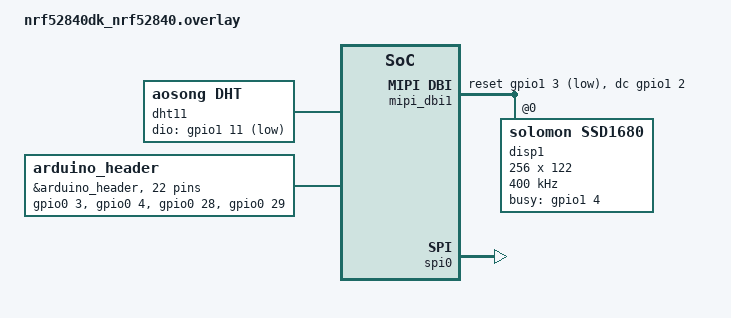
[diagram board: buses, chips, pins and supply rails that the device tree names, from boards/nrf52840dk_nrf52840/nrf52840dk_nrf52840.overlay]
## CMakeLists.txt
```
cmake_minimum_required(VERSION 3.20.0)
find_package(Zephyr REQUIRED HINTS $ENV{ZEPHYR_BASE})

project(tempDemo)

target_sources(app PRIVATE src/main.c src/text.c src/my_image.c)
```

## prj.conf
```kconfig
CONFIG_SENSOR=y
CONFIG_DHT=y
CONFIG_GPIO=y
CONFIG_DHT_LOCK_IRQS=y
CONFIG_LOG=y
CONFIG_DISPLAY=y
CONFIG_SSD16XX=y


CONFIG_SERIAL=y
CONFIG_UART_CONSOLE=y
CONFIG_CONSOLE=y
CONFIG_GPIO_NRFX=y

CONFIG_SPI=y
CONFIG_SPI_NRFX=y


# Enable logging for DHT sensor (optional)
```

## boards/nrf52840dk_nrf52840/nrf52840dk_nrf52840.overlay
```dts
/ {
 dht11 {
 compatible = "aosong,dht";
 dio-gpios = <&gpio1 11 (GPIO_PULL_UP | GPIO_ACTIVE_LOW)>;
 status="okay";
 };

};


/{
   chosen {
       zephyr,display = &disp1;
   };


   mipi_dbi1 {
       compatible = "zephyr,mipi-dbi-spi";
       dc-gpios = <&gpio1 2 GPIO_ACTIVE_HIGH>;
       reset-gpios = <&gpio1 3 GPIO_ACTIVE_LOW>;
       spi-dev = <&spi0>;
       write-only;
       #address-cells = <1>;
       #size-cells = <0>;
       status = "okay";


       disp1: ssd1680@0 {
           compatible = "solomon,ssd1680";
           reg = <0>;
           busy-gpios = <&gpio1 4 (GPIO_PULL_DOWN | GPIO_ACTIVE_HIGH)>;
           width = <256>;
           height = <122>;
           rotation = <0>;
           mipi-max-frequency = <400000>;  
          


           full {
               // lut = [ 22 55 AA 55 AA 55 AA 11 00 00 00 00 00 00 00 00 1E 1E 1E 1E 1E 1E 1E 1E 01 00 00 00 00 00 ];
           };
         
           partial{
           //     lut = [ 18 00 00 00 00 00 00 00 00 00 00 00 00 00 00 00 0f 01 00 00 00 00 00 00 00 00 00 00 00 00 ];
            };


           status = "okay";
       };
   };
};




&spi0 {
   status = "okay";
   cs-gpios = <&gpio1 1 GPIO_ACTIVE_LOW>;
};


&gpio1 {
   status = "okay";
};


&arduino_i2c {
   status = "disabled";
};


&arduino_header {
   gpio-map = <0 0 &gpio0 3 0>,
              <1 0 &gpio0 4 0>,
              <2 0 &gpio0 28 0>,
              <3 0 &gpio0 29 0>,
              <4 0 &gpio0 30 0>,
              <5 0 &gpio0 31 0>,
              <6 0 &gpio1 1 0>,
              <7 0 &gpio1 2 0>,
              <8 0 &gpio1 3 0>,
              <9 0 &gpio1 4 0>,
              <10 0 &gpio1 5 0>,
              <11 0 &gpio1 6 0>,
              <12 0 &gpio1 7 0>,
              <13 0 &gpio1 8 0>,
              <14 0 &gpio1 10 0>,
              <15 0 &gpio1 11 0>,
              <16 0 &gpio1 12 0>,
              <17 0 &gpio1 13 0>,
              <18 0 &gpio1 14 0>,
              <19 0 &gpio1 15 0>,
              <20 0 &gpio0 26 0>,
              <21 0 &gpio0 27 0>;
};
```

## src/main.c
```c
#include <zephyr/kernel.h>
#include <zephyr/device.h>
#include <zephyr/drivers/sensor.h>
#include <zephyr/sys/printk.h>
#include "text.h"
#include <stdlib.h>
#include <string.h>
#include <zephyr/drivers/gpio.h>
#include <zephyr/drivers/display.h>
#include <zephyr/devicetree.h>
#include <stdio.h>
#include <zephyr/logging/log.h>
#include <math.h>
#include "my_image.h"

#define DHT_NODE DT_PATH(dht11)

#define DISPLAY_WIDTH      256
#define DISPLAY_HEIGHT     120
#define DISPLAY_PITCH      DISPLAY_WIDTH
#define DISPLAY_BYTE_PITCH ((DISPLAY_WIDTH + 7) / 8)
#define DISPLAY_BUF_SIZE   (DISPLAY_BYTE_PITCH * DISPLAY_HEIGHT)

extern const Img raindrop;
extern const Img flame;

LOG_MODULE_REGISTER(main);
#define PIXEL_ON 0
#define PIXEL_OFF 1

static uint8_t raw_buf[DISPLAY_WIDTH * DISPLAY_HEIGHT];  // 1 byte per pixel
static uint8_t buf[DISPLAY_BUF_SIZE];



extern void set_pixel(int x, int y) {
   if (x < 0 || x >= DISPLAY_WIDTH || y < 0 || y >= DISPLAY_HEIGHT) {
       return;
   }
   raw_buf[y * DISPLAY_WIDTH + x] = PIXEL_ON;
}

static void color_white(int x, int y){
      if (x < 0 || x >= DISPLAY_WIDTH || y < 0 || y >= DISPLAY_HEIGHT) {
       return;
   }
   raw_buf[y * DISPLAY_WIDTH + x] = PIXEL_OFF;
   
}
static void pack_buffer(void) {
   memset(buf, 0xFF, sizeof(buf));  // Set all to white
   for (int y = 0; y < DISPLAY_HEIGHT; y++) {
       for (int x = 0; x < DISPLAY_WIDTH; x++) {
           if (raw_buf[y * DISPLAY_WIDTH + x] == PIXEL_ON) {
               int byte_index = x + (y / 8) * DISPLAY_WIDTH;
               int bit_pos = 7 - (y % 8);
               buf[byte_index] &= ~(1 << bit_pos);
               // LOG_INF("PACK: (x=%d y=%d) -> Byte %d, bit %d", x, y, byte_index, bit_pos);
           }
       }
   }
}


//image drawn method, used for raindrop and temperature icons
void draw_my_image(int x_offset, int y_offset, const Img  *image) {
   int width = image->width;
   int height = image->height;
   int bytes_per_row = image->pitch;  // (100 + 7) / 8


   for (int y = 0; y < height; y++) {
       for (int byte_index = 0; byte_index < bytes_per_row; byte_index++) {
           uint8_t byte = image->img_data[y * bytes_per_row + byte_index];
           for (int bit = 0; bit < 8; bit++) {
               int x = byte_index * 8 + bit;
               if (x >= width) break;  


               if (byte & (0x80 >> bit)) {
                   set_pixel(x + x_offset, y + y_offset);
               }
           }
       }
   }
}




int main(void)
{
    const struct device *display_dev = DEVICE_DT_GET(DT_CHOSEN(zephyr_display));
   const struct device *reset_dev   = device_get_binding("GPIO_1");
   const struct device *spi_dev     = DEVICE_DT_GET(DT_NODELABEL(spi0));
   const struct device *gpio_dev    = DEVICE_DT_GET(DT_NODELABEL(gpio1));


   if (reset_dev) {
       gpio_pin_configure(reset_dev, 3, GPIO_OUTPUT);
       gpio_pin_set(reset_dev, 3, 0);
       k_sleep(K_MSEC(10));
       gpio_pin_set(reset_dev, 3, 1);
       k_sleep(K_MSEC(10));
   }    


   LOG_INF("SPI ready? %d", device_is_ready(spi_dev));
   LOG_INF("GPIO1 ready? %d", device_is_ready(gpio_dev));
   LOG_INF("Chosen display node: %s", DT_NODE_FULL_NAME(DT_CHOSEN(zephyr_display)));


   LOG_INF("Delaying for display power up");
   k_msleep(100);


   if (!device_is_ready(display_dev)) {
       LOG_ERR("Display device not ready");
       return -1;
   }


   LOG_INF("DEVICE IS READY!!!");
   LOG_INF("Display device name: %s", display_dev->name);


   display_blanking_off(display_dev);
   memset(raw_buf, 1, sizeof(raw_buf));  // White pixels


   struct display_buffer_descriptor desc = {
       .width = DISPLAY_WIDTH,
       .height = DISPLAY_HEIGHT,
       .pitch = DISPLAY_PITCH,
       .buf_size = DISPLAY_BUF_SIZE,
   };


    const struct device *dht_dev = DEVICE_DT_GET(DHT_NODE);

    if (!device_is_ready(dht_dev)) {
        printk("DHT11 not ready\n");
        return 1;
    }

    printk("DHT11 sensor ready\n");

int last_temp = INT32_MIN;  
int last_humid= INT32_MIN;
    int count= 0;
while (1) {
    struct sensor_value temp;
    struct sensor_value humidity;
    if (sensor_sample_fetch(dht_dev) == 0 &&
        sensor_channel_get(dht_dev, SENSOR_CHAN_AMBIENT_TEMP, &temp) == 0 &&
        sensor_channel_get(dht_dev, SENSOR_CHAN_HUMIDITY, &humidity)==0){
            
         float temp_c = temp.val1 + temp.val2 / 1000000.0f;
        float rh = humidity.val1 + humidity.val2 / 1000000.0f;
        float temp_f = temp_c * 9.0f / 5.0f + 32.0f;

        // Calculate Heat Index in Fahrenheit using the exact formula
        float HI_f = -42.379f
                   + 2.04901523f * temp_f
                   + 10.14333127f * rh
                   - 0.22475541f * temp_f * rh
                   - 0.00683783f * temp_f * temp_f
                   - 0.05481717f * rh * rh
                   + 0.00122874f * temp_f * temp_f * rh
                   + 0.00085282f * temp_f * rh * rh
                   - 0.00000199f * temp_f * temp_f * rh * rh;

        // Convert result back to Celsius
        int heat_index_celsius = (int)((HI_f - 32.0f) * 5.0f / 9.0f);

        

              if (temp.val1 != last_temp || humidity.val1 != last_humid) {
            last_temp = temp.val1;
            last_humid = humidity.val1;

            memset(raw_buf, 0xFF, sizeof(raw_buf));  // Clear to white before drawing

            char temp_str[50];
            char humidity_str[50];
            char heat_index_str[50];
            snprintk(temp_str, sizeof(temp_str), "Temperature %d.%02d,C", temp.val1, temp.val2 / 10000);
            snprintk(humidity_str, sizeof(humidity_str), "Humidity %d.%02d%%", humidity.val1, humidity.val2 / 10000);
            if(temp.val1>=26){
            snprintk(heat_index_str, sizeof(heat_index_str), "Heat Index %d.%02d,C", heat_index_celsius);
    
            }
            else{
            snprintk(heat_index_str, sizeof(heat_index_str), "Heat Index: %d.%02d,C", temp.val1);
            }
            
            printk("Temp: %d.%06d C, Humidity: %d.%06d%%\n", temp.val1, temp.val2, humidity.val1, humidity.val2);
            printk("Heat Index: %d\n", heat_index_celsius);
            if (count%2==0){
            draw_string_8x10(temp_str, 9, 56);
            draw_string_8x10(humidity_str, 9, 20);
            draw_string_8x10(heat_index_str, 9, 91);
             if(humidity.val1>=50){
                draw_my_image(146, 13, &raindrop);
             }
            
             if (heat_index_celsius>=26){
                draw_my_image(192, 56, &flame);
             }
            }
            else{
                draw_string_8x10(temp_str, 10, 57);
                draw_string_8x10(humidity_str, 10, 21);
                draw_string_8x10(heat_index_str, 10, 92);
                     if(humidity.val1>=50){
                draw_my_image(147, 14, &raindrop);
             }
             if (heat_index_celsius>=26){
                draw_my_image(193, 57, &flame);
             }
            }
            pack_buffer();
            display_write(display_dev, 0, 0, &desc, buf);
            memset(raw_buf, 0xFF, sizeof(raw_buf)); 
            count++;

        } else {
            printk("Temp and humidity unchanged (%d°C and %d%%), skipping refresh\n", temp.val1, humidity.val1);
        }
    }

     else {
        printk("Failed to read from DHT11\n");
    }

    k_sleep(K_SECONDS(1));
}
}
```

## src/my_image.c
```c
#include "my_image.h"

//pitch calculation: width/8 rounded up
//array size: height*pitch

const uint8_t raindrop_data[77] = {
// 'raindrop(1)', 30x30px
// 'raindrop(1)(1)', 22x22px
0x00, 0x00, 0x00, 0x00, 0x30, 0x00, 0x00, 0x78, 0x00, 0x00, 0x78, 0x00, 0x00, 0xfc, 0x00, 0x00, 
0xfc, 0x00, 0x01, 0xfe, 0x00, 0x03, 0xff, 0x00, 0x03, 0xff, 0x00, 0x07, 0xff, 0x80, 0x07, 0xff, 
0x80, 0x07, 0xff, 0x80, 0x0f, 0xff, 0xc0, 0x0f, 0xff, 0xc0, 0x0f, 0xff, 0xc0, 0x0f, 0xff, 0xc0, 
0x0f, 0xff, 0xc0, 0x0f, 0xff, 0xc0, 0x07, 0xff, 0x80, 0x07, 0xff, 0x80, 0x03, 0xff, 0x00, 0x00, 
0xfc, 0x00};


 const Img raindrop = {
    .width = 22,
    .height = 22,
    .pitch = 3,  // width in bytes (250 / 8 = 31.25 → round up)
    .img_data = raindrop_data
};


const uint8_t flame_data[333]={
// 'flame(2)', 55x46px
0x00, 0x00, 0x00, 0x00, 0x00, 0x00, 0x00, 0x00, 0x00, 0x00, 0x00, 0x00, 0x00, 0x00, 0x00, 0x00, 
0x00, 0x00, 0x00, 0x00, 0x00, 0x00, 0x00, 0x00, 0x10, 0x00, 0x00, 0x00, 0x00, 0x00, 0x00, 0x30, 
0x00, 0x00, 0x00, 0x00, 0x00, 0x00, 0x70, 0x00, 0x00, 0x00, 0x00, 0x00, 0x00, 0xf0, 0x00, 0x00, 
0x00, 0x00, 0x00, 0x01, 0xf0, 0x00, 0x00, 0x00, 0x00, 0x00, 0x01, 0xf0, 0x00, 0x00, 0x00, 0x00, 
0x00, 0x01, 0xf0, 0x00, 0x00, 0x00, 0x00, 0x00, 0x03, 0xf8, 0x00, 0x00, 0x00, 0x00, 0x00, 0x03, 
0xf8, 0x00, 0x00, 0x00, 0x00, 0x00, 0x03, 0xfc, 0x00, 0x00, 0x00, 0x00, 0x00, 0x03, 0xfe, 0x00, 
0x00, 0x00, 0x00, 0x00, 0x03, 0xff, 0x00, 0x00, 0x00, 0x00, 0x00, 0x03, 0xff, 0x80, 0x00, 0x00, 
0x00, 0x00, 0x03, 0xff, 0xc0, 0x00, 0x00, 0x00, 0x00, 0x03, 0xff, 0xc0, 0x00, 0x00, 0x00, 0x00, 
0x87, 0xff, 0xe0, 0x00, 0x00, 0x00, 0x00, 0xc7, 0xff, 0xe0, 0x00, 0x00, 0x00, 0x00, 0xe7, 0xef, 
0xf0, 0x00, 0x00, 0x00, 0x01, 0xff, 0xcf, 0xf1, 0x00, 0x00, 0x00, 0x01, 0xff, 0x8f, 0xf3, 0x00, 
0x00, 0x00, 0x01, 0xff, 0x8f, 0xf3, 0x80, 0x00, 0x00, 0x03, 0xff, 0x0f, 0xf7, 0x80, 0x00, 0x00, 
0x03, 0xff, 0x07, 0xff, 0x80, 0x00, 0x00, 0x03, 0xff, 0x03, 0xff, 0x80, 0x00, 0x00, 0x03, 0xff, 
0x01, 0xff, 0x80, 0x00, 0x00, 0x07, 0xff, 0x00, 0xff, 0xc0, 0x00, 0x00, 0x07, 0xf3, 0x00, 0xff, 
0xc0, 0x00, 0x00, 0x07, 0xf0, 0x00, 0xff, 0xc0, 0x00, 0x00, 0x07, 0xf0, 0x00, 0x5f, 0xc0, 0x00, 
0x00, 0x03, 0xf0, 0x00, 0x1f, 0x80, 0x00, 0x00, 0x03, 0xe0, 0x00, 0x0f, 0x80, 0x00, 0x00, 0x03, 
0xe0, 0x00, 0x0f, 0x80, 0x00, 0x00, 0x03, 0xe0, 0x00, 0x0f, 0x80, 0x00, 0x00, 0x01, 0xe0, 0x00, 
0x0f, 0x00, 0x00, 0x00, 0x01, 0xe0, 0x00, 0x0f, 0x00, 0x00, 0x00, 0x00, 0xe0, 0x00, 0x0e, 0x00, 
0x00, 0x00, 0x00, 0x70, 0x00, 0x1c, 0x00, 0x00, 0x00, 0x00, 0x30, 0x00, 0x18, 0x00, 0x00, 0x00, 
0x00, 0x08, 0x00, 0x20, 0x00, 0x00, 0x00, 0x00, 0x00, 0x00, 0x00, 0x00, 0x00, 0x00, 0x00, 0x00, 
0x00, 0x00, 0x00, 0x00, 0x00, 0x00, 0x00, 0x00, 0x00, 0x00, 0x00, 0x00, 0x00, 0x00, 0x00, 0x00, 
0x00, 0x00
};

const Img flame = {
    .width= 55,
    .height =46,
    .pitch = 7,
    .img_data = flame_data
};
```

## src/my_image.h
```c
#ifndef MY_IMAGE_H
#define MY_IMAGE_H

#include <stdint.h>

#ifdef __cplusplus
extern "C" {
#endif

// Define the Img struct type here
typedef struct {
    int width;
    int height;
    int pitch;
    const uint8_t *img_data;
} Img;

// Declare the image data and image instance
// extern const uint8_t mario_image_data[];
// extern const Img mario;

#ifdef __cplusplus
}
#endif

#endif // MY_IMAGE_H
```

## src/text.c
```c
#include "text.h"
#include <stdint.h>

extern void set_pixel(int x, int y);

// Existing 5x7 font data: 5 columns, 7 rows (1 byte per column)
static const uint8_t font_5x7[][5] = {
    // SPACE (ASCII 32)
    {0x00, 0x00, 0x00, 0x00, 0x00}, // ' '
    // !
    {0x00, 0x00, 0x5F, 0x00, 0x00}, // '!'

    // A-Z (ASCII 65–90)
    {0x7C, 0x12, 0x11, 0x12, 0x7C}, // A
    {0x7F, 0x49, 0x49, 0x49, 0x36}, // B
    {0x3E, 0x41, 0x41, 0x41, 0x22}, // C
    {0x7F, 0x41, 0x41, 0x22, 0x1C}, // D
    {0x7F, 0x49, 0x49, 0x49, 0x41}, // E
    {0x7F, 0x09, 0x09, 0x09, 0x01}, // F
    {0x3E, 0x41, 0x49, 0x49, 0x7A}, // G
    {0x7F, 0x08, 0x08, 0x08, 0x7F}, // H
    {0x00, 0x41, 0x7F, 0x41, 0x00}, // I
    {0x20, 0x40, 0x41, 0x3F, 0x01}, // J
    {0x7F, 0x08, 0x14, 0x22, 0x41}, // K
    {0x7F, 0x40, 0x40, 0x40, 0x40}, // L
    {0x7F, 0x02, 0x0C, 0x02, 0x7F}, // M
    {0x7F, 0x04, 0x08, 0x10, 0x7F}, // N
    {0x3E, 0x41, 0x41, 0x41, 0x3E}, // O
    {0x7F, 0x09, 0x09, 0x09, 0x06}, // P
    {0x3E, 0x41, 0x51, 0x21, 0x5E}, // Q
    {0x7F, 0x09, 0x19, 0x29, 0x46}, // R
    {0x26, 0x49, 0x49, 0x49, 0x32}, // S
    {0x01, 0x01, 0x7F, 0x01, 0x01}, // T
    {0x3F, 0x40, 0x40, 0x40, 0x3F}, // U
    {0x1F, 0x20, 0x40, 0x20, 0x1F}, // V
    {0x7F, 0x20, 0x18, 0x20, 0x7F}, // W
    {0x63, 0x14, 0x08, 0x14, 0x63}, // X
    {0x07, 0x08, 0x70, 0x08, 0x07}, // Y
    {0x61, 0x51, 0x49, 0x45, 0x43}, // Z

    // a-z (ASCII 97–122)
    {0x20, 0x54, 0x54, 0x54, 0x78}, // a
    {0x7F, 0x48, 0x44, 0x44, 0x38}, // b
    {0x38, 0x44, 0x44, 0x44, 0x20}, // c
    {0x38, 0x44, 0x44, 0x48, 0x7F}, // d
    {0x38, 0x54, 0x54, 0x54, 0x18}, // e
    {0x08, 0x7E, 0x09, 0x01, 0x02}, // f
    {0x08, 0x14, 0x54, 0x54, 0x3C}, // g
    {0x7F, 0x08, 0x04, 0x04, 0x78}, // h
    {0x00, 0x44, 0x7D, 0x40, 0x00}, // i
    {0x20, 0x40, 0x44, 0x3D, 0x00}, // j
    {0x7F, 0x10, 0x28, 0x44, 0x00}, // k
    {0x00, 0x41, 0x7F, 0x40, 0x00}, // l
    {0x7C, 0x04, 0x18, 0x04, 0x78}, // m
    {0x7C, 0x08, 0x04, 0x04, 0x78}, // n
    {0x38, 0x44, 0x44, 0x44, 0x38}, // o
    {0x7C, 0x14, 0x14, 0x14, 0x08}, // p
    {0x08, 0x14, 0x14, 0x18, 0x7C}, // q
    {0x7C, 0x08, 0x04, 0x04, 0x08}, // r
    {0x48, 0x54, 0x54, 0x54, 0x20}, // s
    {0x04, 0x3F, 0x44, 0x40, 0x20}, // t
    {0x3C, 0x40, 0x40, 0x20, 0x7C}, // u
    {0x1C, 0x20, 0x40, 0x20, 0x1C}, // v
    {0x3C, 0x40, 0x30, 0x40, 0x3C}, // w
    {0x44, 0x28, 0x10, 0x28, 0x44}, // x
    {0x0C, 0x50, 0x50, 0x50, 0x3C}, // y
    {0x44, 0x64, 0x54, 0x4C, 0x44}, // z

    {0x00, 0x60, 0x60, 0x00, 0x00}, // '.'

// ° (degree symbol, ASCII 176 or use custom index if not using full ASCII)

{0x00, 0x06, 0x09, 0x09, 0x06}, // °
// 0–9 (flipped vertically for draw_char_5x7)
{0x3E, 0x51, 0x49, 0x45, 0x3E}, // 0
{0x00, 0x41, 0x7F, 0x01, 0x00}, // 1
{0x43, 0x65, 0x59, 0x49, 0x31}, // 2
{0x42, 0x41, 0x51, 0x69, 0x46}, // 3
{0x18, 0x14, 0x12, 0x7F, 0x10}, // 4
{0x4F, 0x49, 0x49, 0x49, 0x71}, // 5
{0x3E, 0x49, 0x49, 0x49, 0x32}, // 6
{0x01, 0x01, 0x71, 0x0D, 0x03}, // 7
{0x36, 0x49, 0x49, 0x49, 0x36}, // 8
{0x26, 0x49, 0x49, 0x49, 0x3E}, // 9




};


// Draw char from 5x7 font
void draw_char_5x7(char c, int x, int y) {
    uint8_t index;
    if (c == ' ') index = 0;
    else if (c == '!') index = 1;
    else if (c >= 'A' && c <= 'Z') index = 2 + (c - 'A');
    else if (c >= 'a' && c <= 'z') index = 28 + (c - 'a');
    else if(c=='.') index =54;
    else if(c==',') index=55;
    else if (c>='0'&& c<='9') index = 56+ (c-'0');
    else return;

    for (int col = 0; col < 5; col++) {
        uint8_t line = font_5x7[index][col];
        for (int row = 0; row < 7; row++) {
            if (line & (1 << row)) {
                set_pixel(x + col, y + row);
            }
        }
    }
}

// Draw string using 5x7 font
void draw_string_5x7(const char *text, int x, int y) {
    while (*text) {
        draw_char_5x7(*text, x, y);
        x += 6; // 5 columns + 1 spacing
        text++;
    }
}
// 7 columns per char, 9 rows (bits 0-8), bit 0 = top pixel, bit 8 = bottom pixel
static const uint8_t font_7x9[][8] = {
    // SPACE (ASCII 32)
    {0x00,0x00,0x00,0x00,0x00,0x00,0x00,0x00}, // ' '
    // !
    {0x18,0x3C,0x3C,0x18,0x18,0x00,0x18,0x00}, // '!'
    {0x3C,0x42,0x46,0x4A,0x52,0x62,0x42,0x3C}, // 0
    {0x10,0x30,0x10,0x10,0x10,0x10,0x10,0x38}, // 1
    {0x3C,0x42,0x02,0x04,0x08,0x10,0x20,0x7E}, // 2
    {0x3C,0x42,0x02,0x1C,0x02,0x02,0x42,0x3C}, // 3
    {0x08,0x18,0x28,0x48,0x88,0x7E,0x08,0x08}, // 4
    {0x7E,0x40,0x40,0x7C,0x02,0x02,0x42,0x3C}, // 5
    {0x3C,0x42,0x40,0x7C,0x42,0x42,0x42,0x3C}, // 6
    {0x7E,0x02,0x04,0x08,0x10,0x10,0x10,0x10}, // 7
    {0x3C,0x42,0x42,0x3C,0x42,0x42,0x42,0x3C}, // 8
    {0x3C,0x42,0x42,0x42,0x3E,0x02,0x42,0x3C}, // 9

    // A-Z (ASCII 65–90)
    {0x18,0x24,0x42,0x42,0x7E,0x42,0x42,0x42}, // A
    {0x7C,0x42,0x42,0x7C,0x42,0x42,0x42,0x7C}, // B
    {0x3C,0x42,0x40,0x40,0x40,0x40,0x42,0x3C}, // C
    {0x78,0x44,0x42,0x42,0x42,0x42,0x44,0x78}, // D
    {0x7E,0x40,0x40,0x7C,0x40,0x40,0x40,0x7E}, // E
    {0x7E,0x40,0x40,0x7C,0x40,0x40,0x40,0x40}, // F
    {0x3C,0x42,0x40,0x5E,0x42,0x42,0x42,0x3C}, // G
    {0x42,0x42,0x42,0x7E,0x42,0x42,0x42,0x42}, // H
    {0x3C,0x18,0x18,0x18,0x18,0x18,0x18,0x3C}, // I
    {0x1E,0x0C,0x0C,0x0C,0x0C,0x4C,0x4C,0x38}, // J
    {0x42,0x44,0x48,0x70,0x48,0x44,0x42,0x42}, // K
    {0x40,0x40,0x40,0x40,0x40,0x40,0x40,0x7E}, // L
    {0x42,0x66,0x5A,0x5A,0x42,0x42,0x42,0x42}, // M
    {0x42,0x62,0x52,0x4A,0x46,0x42,0x42,0x42}, // N
    {0x3C,0x42,0x42,0x42,0x42,0x42,0x42,0x3C}, // O
    {0x7C,0x42,0x42,0x7C,0x40,0x40,0x40,0x40}, // P
    {0x3C,0x42,0x42,0x42,0x4A,0x44,0x3A,0x00}, // Q
    {0x7C,0x42,0x42,0x7C,0x48,0x44,0x42,0x42}, // R
    {0x3C,0x42,0x40,0x3C,0x02,0x42,0x42,0x3C}, // S
    {0x7E,0x18,0x18,0x18,0x18,0x18,0x18,0x18}, // T
    {0x42,0x42,0x42,0x42,0x42,0x42,0x42,0x3C}, // U
    {0x42,0x42,0x42,0x42,0x42,0x24,0x18,0x18}, // V
    {0x42,0x42,0x42,0x5A,0x5A,0x66,0x42,0x42}, // W
    {0x42,0x24,0x18,0x18,0x18,0x24,0x42,0x42}, // X
    {0x42,0x42,0x24,0x18,0x18,0x18,0x18,0x18}, // Y
    {0x7E,0x04,0x08,0x10,0x20,0x40,0x40,0x7E}, // Z

    // a-z (ASCII 97–122)
    {0x00,0x00,0x38,0x04,0x3C,0x44,0x3A,0x00}, // a
    {0x40,0x40,0x5C,0x62,0x42,0x62,0x5C,0x00}, // b
    {0x00,0x00,0x3C,0x40,0x40,0x40,0x3C,0x00}, // c
    {0x02,0x02,0x3A,0x46,0x42,0x46,0x3A,0x00}, // d
    {0x00,0x00,0x3C,0x44,0x7C,0x40,0x3C,0x00}, // e
    {0x1C,0x20,0x7C,0x20,0x20,0x20,0x20,0x00}, // f
    {0x00,0x00,0x3A,0x46,0x42,0x46,0x3A,0x02}, // g
    {0x40,0x40,0x5C,0x62,0x42,0x42,0x42,0x00}, // h
    {0x18,0x00,0x38,0x18,0x18,0x18,0x3C,0x00}, // i
    {0x06,0x00,0x0E,0x06,0x06,0x46,0x46,0x3C}, // j
    {0x40,0x40,0x44,0x48,0x70,0x48,0x44,0x00}, // k
    {0x38,0x18,0x18,0x18,0x18,0x18,0x3C,0x00}, // l
    {0x00,0x00,0x6C,0x52,0x52,0x52,0x52,0x00}, // m
    {0x00,0x00,0x5C,0x62,0x42,0x42,0x42,0x00}, // n
    {0x00,0x00,0x3C,0x42,0x42,0x42,0x3C,0x00}, // o
    {0x00,0x00,0x5C,0x62,0x42,0x62,0x5C,0x40}, // p
    {0x00,0x00,0x3A,0x46,0x42,0x46,0x3A,0x02}, // q
    {0x00,0x00,0x5C,0x62,0x40,0x40,0x40,0x00}, // r
    {0x00,0x00,0x3C,0x40,0x38,0x04,0x78,0x00}, // s
    {0x20,0x20,0x7C,0x20,0x20,0x20,0x1C,0x00}, // t
    {0x00,0x00,0x42,0x42,0x42,0x46,0x3A,0x00}, // u
    {0x00,0x00,0x42,0x42,0x24,0x18,0x18,0x00}, // v
    {0x00,0x00,0x42,0x52,0x52,0x52,0x24,0x00}, // w
    {0x00,0x00,0x42,0x24,0x18,0x24,0x42,0x00}, // x
    {0x00,0x00,0x42,0x42,0x46,0x3A,0x02,0x3C}, // y
    {0x00,0x00,0x7E,0x08,0x10,0x20,0x7E,0x00}, // z
    {0x00,0x00,0x00,0x00,0x00,0x00,0x18,0x18}, // '.'

    { 0x06, 0x09, 0x09, 0x06, 0x00, 0x00, 0x00}  //degree symbol
};

void draw_char_7x9(char c, int x, int y) {
    uint8_t index;

    if (c == ' ') {
        index = 0;
    } else if (c == '!') {
        index = 1;
    } else if (c >= '0' && c <= '9') {
        index = 2 + (c - '0');  // digits 0-9 at indices 2 to 11
    } else if (c >= 'A' && c <= 'Z') {
        index = 12 + (c - 'A');  // letters A-Z start at index 12
    } else if (c >= 'a' && c <= 'z') {
        index = 38 + (c - 'a');  // letters a-z start at index 38 (12 + 26)

    } 
    else if (c == '.') {
    index = 64;
    }
    else if (c==','){
        index = 65;
    }    
    else {
        return;  // Unsupported character
    }

    for (int row = 0; row < 8; row++) {
        uint8_t line = font_7x9[index][row];
        for (int col = 0; col < 8; col++) {
            if (line & (1 << (7 - col))) {
                set_pixel(x + col, y + row);
            }
        }
    }
}

void draw_string_7x9(const char *text, int x, int y) {
    while (*text) {
        draw_char_7x9(*text, x, y);
        x += 9;  // 8 pixels wide + 1 pixel space
        text++;
    }
}

// 8x12 font, uppercase A-Z
// Each character: 8 columns, 12 rows (bit 0=top pixel, bit 11=bottom pixel)
// Each uint16_t = one column's vertical pixels
static const uint8_t font_8x10[][10] = {
    // SPACE
    {0x00,0x00,0x00,0x00,0x00,0x00,0x00,0x00,0x00,0x00}, // ' '

    // DIGITS 0–9
    {0x3C,0x66,0xC3,0xC3,0xC3,0xC3,0xC3,0xC3,0x66,0x3C}, // '0'
    {0x18,0x38,0x58,0x18,0x18,0x18,0x18,0x18,0x18,0x7E}, // '1'
    {0x3C,0x66,0x03,0x03,0x06,0x0C,0x18,0x30,0x60,0x7F}, // '2'
    {0x3C,0x66,0x03,0x03,0x1E,0x03,0x03,0x03,0x66,0x3C}, // '3'
    {0x06,0x0E,0x1E,0x36,0x66,0xC6,0xFF,0x06,0x06,0x06}, // '4'
    {0x7E,0x60,0x60,0x7C,0x06,0x03,0x03,0x03,0x66,0x3C}, // '5'
    {0x1C,0x30,0x60,0x7C,0x66,0xC3,0xC3,0xC3,0x66,0x3C}, // '6'
    {0xFF,0x03,0x06,0x0C,0x18,0x30,0x30,0x30,0x30,0x30}, // '7'
    {0x3C,0x66,0xC3,0x66,0x3C,0x66,0xC3,0xC3,0x66,0x3C}, // '8'
    {0x3C,0x66,0xC3,0xC3,0x67,0x3F,0x03,0x06,0x0C,0x38}, // '9'

    // UPPERCASE A–Z
    {0x18,0x3C,0x66,0x66,0x66,0x7E,0x66,0x66,0x66,0x66}, // A
    {0x7C,0x66,0x66,0x66,0x7C,0x66,0x66,0x66,0x66,0x7C}, // B
    {0x3C,0x66,0xC0,0xC0,0xC0,0xC0,0xC0,0xC0,0x66,0x3C}, // C
    {0x78,0x6C,0x66,0x66,0x66,0x66,0x66,0x66,0x6C,0x78}, // D
    {0x7E,0x60,0x60,0x60,0x7C,0x60,0x60,0x60,0x60,0x7E}, // E
    {0x7E,0x60,0x60,0x60,0x7C,0x60,0x60,0x60,0x60,0x60}, // F
    {0x3C,0x66,0xC0,0xC0,0xCE,0xC6,0xC6,0xC6,0x66,0x3C}, // G
    {0x66,0x66,0x66,0x66,0x7E,0x66,0x66,0x66,0x66,0x66}, // H
    {0x3C,0x18,0x18,0x18,0x18,0x18,0x18,0x18,0x18,0x3C}, // I
    {0x1E,0x0C,0x0C,0x0C,0x0C,0x0C,0x0C,0xCC,0xCC,0x78}, // J
    {0x66,0x6C,0x78,0x70,0x60,0x70,0x78,0x6C,0x66,0x66}, // K
    {0x60,0x60,0x60,0x60,0x60,0x60,0x60,0x60,0x60,0x7E}, // L
    {0xC3,0xE7,0xFF,0xFF,0xDB,0xC3,0xC3,0xC3,0xC3,0xC3}, // M
    {0xC3,0xC3,0xE3,0xF3,0xFB,0xDF,0xCF,0xC7,0xC3,0xC3}, // N
    {0x3C,0x66,0xC3,0xC3,0xC3,0xC3,0xC3,0xC3,0x66,0x3C}, // O
    {0x7C,0x66,0x66,0x66,0x7C,0x60,0x60,0x60,0x60,0x60}, // P
    {0x3C,0x66,0xC3,0xC3,0xC3,0xC3,0xCB,0xCF,0x66,0x3F}, // Q
    {0x7C,0x66,0x66,0x66,0x7C,0x70,0x78,0x6C,0x66,0x66}, // R
    {0x3E,0x60,0x60,0x60,0x3C,0x06,0x06,0x06,0x06,0x7C}, // S
    {0x7E,0x5A,0x18,0x18,0x18,0x18,0x18,0x18,0x18,0x18}, // T
    {0x66,0x66,0x66,0x66,0x66,0x66,0x66,0x66,0x66,0x3C}, // U
    {0xC3,0xC3,0x66,0x66,0x66,0x3C,0x3C,0x18,0x18,0x18}, // V
    {0xC3,0xC3,0xC3,0xC3,0xDB,0xFF,0xFF,0x66,0x66,0x66}, // W
    {0xC3,0x66,0x66,0x3C,0x18,0x18,0x3C,0x66,0x66,0xC3}, // X
    {0x66,0x66,0x66,0x3C,0x18,0x18,0x18,0x18,0x18,0x18}, // Y
    {0xFF,0x03,0x06,0x0C,0x18,0x30,0x60,0xC0,0x80,0xFF}, // Z

    // LOWERCASE a–z
    {0x00,0x00,0x00,0x3C,0x06,0x3E,0x66,0x66,0x66,0x3F}, // a
    {0x60,0x60,0x60,0x7C,0x66,0x66,0x66,0x66,0x66,0x7C}, // b
    {0x00,0x00,0x00,0x3C,0x66,0x60,0x60,0x60,0x66,0x3C}, // c
    {0x06,0x06,0x06,0x3E,0x66,0x66,0x66,0x66,0x66,0x3E}, // d
    {0x00,0x00,0x00,0x3C,0x66,0x7E,0x60,0x60,0x66,0x3C}, // e
    {0x0E,0x18,0x18,0x3E,0x18,0x18,0x18,0x18,0x18,0x18}, // f
    {0x00,0x00,0x00,0x3E,0x66,0x66,0x66,0x66,0x3E,0x06}, // g
    {0x60,0x60,0x60,0x7C,0x66,0x66,0x66,0x66,0x66,0x66}, // h
    {0x18,0x00,0x00,0x38,0x18,0x18,0x18,0x18,0x18,0x3C}, // i
    {0x0C,0x00,0x00,0x1C,0x0C,0x0C,0x0C,0x0C,0x6C,0x38}, // j
    {0x60,0x60,0x60,0x66,0x6C,0x78,0x78,0x6C,0x66,0x66}, // k
    {0x38,0x18,0x18,0x18,0x18,0x18,0x18,0x18,0x18,0x3C}, // l
    {0x00,0x00,0x00,0xEC,0xFE,0xD6,0xD6,0xD6,0xD6,0xD6}, // m
    {0x00,0x00,0x00,0x7C,0x66,0x66,0x66,0x66,0x66,0x66}, // n
    {0x00,0x00,0x00,0x3C,0x66,0x66,0x66,0x66,0x66,0x3C}, // o
    {0x00,0x00,0x00,0x7C,0x66,0x66,0x66,0x66,0x7C,0x60}, // p
    {0x00,0x00,0x00,0x3E,0x66,0x66,0x66,0x66,0x3E,0x06}, // q
    {0x00,0x00,0x00,0x7C,0x66,0x60,0x60,0x60,0x60,0x60}, // r
    {0x00,0x00,0x00,0x3E,0x60,0x3C,0x06,0x06,0x66,0x3C}, // s
    {0x30,0x30,0x30,0x7E,0x30,0x30,0x30,0x30,0x36,0x1C}, // t
    {0x00,0x00,0x00,0x66,0x66,0x66,0x66,0x66,0x66,0x3E}, // u
    {0x00,0x00,0x00,0x66,0x66,0x66,0x3C,0x3C,0x18,0x18}, // v
    {0x00,0x00,0x00,0xC3,0xC3,0xC3,0xDB,0xFF,0x66,0x66}, // w
    {0x00,0x00,0x00,0xC3,0x66,0x3C,0x18,0x3C,0x66,0xC3}, // x
    {0x00,0x00,0x00,0x66,0x66,0x66,0x66,0x3E,0x06,0x3C}, // y
    {0x00,0x00,0x00,0x7E,0x06,0x0C,0x18,0x30,0x60,0x7E}, // z
    {0x18,0x3C,0x3C,0x18,0x00,0x00,0x00,0x00,0x00,0x00}, // °
    {0x00,0x00,0x00,0x00,0x00,0x00,0x00,0x18,0x18,0x00}, // .
    {0x60, 0x92, 0x94, 0x68, 0x10, 0x20, 0x4C, 0x52, 0x92, 0x0C},

};

void draw_char_8x10(char c, int x, int y) {
    uint8_t index;

    if (c == ' ') {
        index = 0;
    } else if (c >= '0' && c <= '9') {
        index = 1 + (c - '0');  // 1–10
    } else if (c >= 'A' && c <= 'Z') {
        index = 11 + (c - 'A'); // 11–36
    } else if (c >= 'a' && c <= 'z') {
        index = 37 + (c - 'a'); // 37–62
    } else if (c == ',') {
        index = 63;
    } else if (c == '.') {
        index = 64;
    } else if(c=='%'){
        index=65;
    } 

     else {
        return; // unsupported
    }

    for (int row = 0; row < 10; row++) {
        uint8_t line = font_8x10[index][row];
        for (int col = 0; col < 8; col++) {
            if (line & (1 << (7 - col))) {
                set_pixel(x + col, y + row);
            }
        }
    }
}

void draw_string_8x10(const char *text, int x, int y) {
    while (*text) {
        draw_char_8x10(*text, x, y);
        x += 9;  // 8 pixels wide + 1 spacing
        text++;
    }
}
```

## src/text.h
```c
#ifndef TEXT_H
#define TEXT_H

// Draw a single character using 5x7 font
void draw_char_5x7(char c, int x, int y);
// Draw a string using 5x7 font
void draw_string_5x7(const char *text, int x, int y);

// Draw a single character using 7x9 font
void draw_char_7x9(char c, int x, int y);
// Draw a string using 7x9 font
void draw_string_7x9(const char *text, int x, int y);


void draw_char_8x12(char c, int x, int y);

void draw_string_8x12(const char *text, int x, int y);



#endif
```
